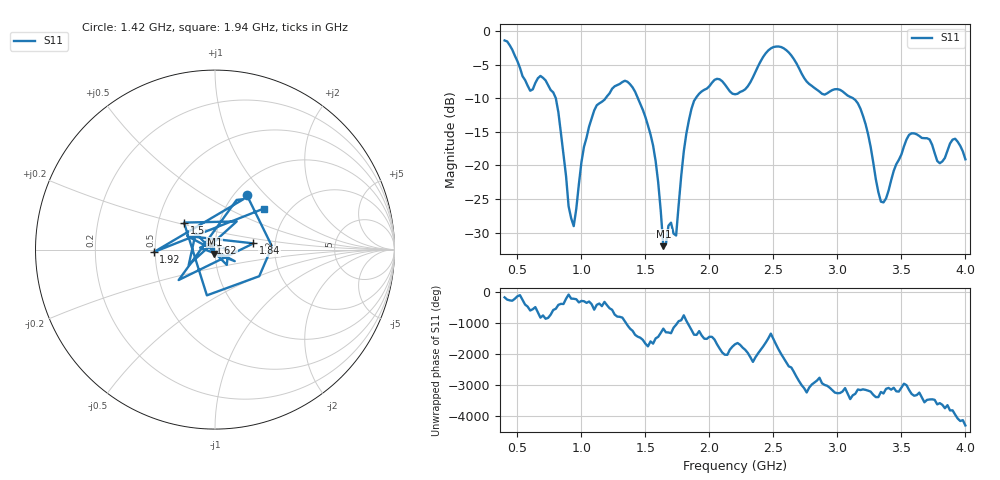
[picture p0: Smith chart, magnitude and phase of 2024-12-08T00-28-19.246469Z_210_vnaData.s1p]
!Created with skrf (http://scikit-rf.org).
# Hz S RI R 50.0
!freq ReS11 ImS11
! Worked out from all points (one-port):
!   181 points, 400 MHz to 4 GHz, reference 50 ohm
!   lowest |S11| = -32.0 dB at 1.64 GHz (marker M1), VSWR 1.05, Z = 49.6 - j2.47 ohm
!   |S11| at or under -10 dB: 800.1 MHz to 1.189 GHz (389 MHz wide, 39.1 % of centre); 1.441 GHz to 1.894 GHz (452.3 MHz wide, 27.1 % of centre); 3.121 GHz to end of sweep
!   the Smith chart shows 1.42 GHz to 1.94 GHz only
!   S11 on the Smith chart (normalised r, x): 1.42 GHz: 1.14, +0.79; 1.5 GHz: 0.68, +0.22; 1.62 GHz: 0.95, +0.07; 1.84 GHz: 1.54, +0.11; 1.92 GHz: 0.49, -0.02; 1.94 GHz: 1.50, +0.79
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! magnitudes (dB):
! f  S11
! 400 MHz  -1.4
! 600 MHz  -8.9
! 780 MHz  -9.1
! 860 MHz  -18.4
! 940 MHz  -29.0
! 1.02 GHz  -17.2
! 1.08 GHz  -13.0
! 1.3 GHz  -7.9
! 1.42 GHz  -9.1
! 1.5 GHz  -12.8
! 1.56 GHz  -17.0
! 1.62 GHz  -26.8
! 1.64 GHz  -32.0
! 1.7 GHz  -28.5
! 1.74 GHz  -30.4
! 1.76 GHz  -25.8
! 1.84 GHz  -13.3
! 1.92 GHz  -9.3
! 1.94 GHz  -9.0
! 2.2 GHz  -9.4
! 2.48 GHz  -2.6
! 2.66 GHz  -4.2
! 3.1 GHz  -9.8
! 3.22 GHz  -13.8
! 3.34 GHz  -25.4
! 3.56 GHz  -15.4
! 3.92 GHz  -16.0
! 4 GHz  -19.1
